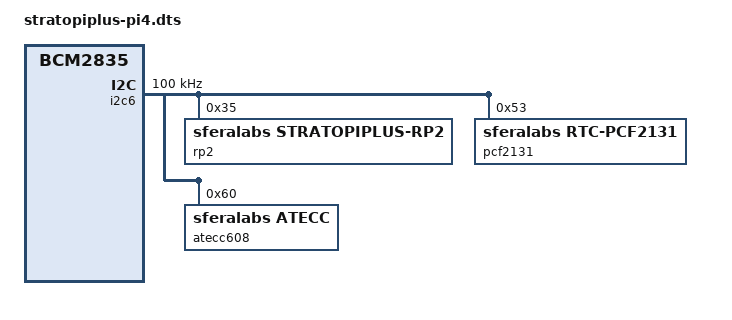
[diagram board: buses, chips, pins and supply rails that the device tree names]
/dts-v1/;
/plugin/;

/ {
    compatible = "brcm,bcm2835";

    fragment@0 {
        target-path = "/";
        __overlay__ {
            stratopiplus: stratopiplus {
                compatible = "sferalabs,stratopiplus";
                status = "okay";
            };
        };
    };

    fragment@1 {
        target = <&i2c6_pins>;
        __overlay__ {
            brcm,pins = <22 23>;
        };
    };

    fragment@2 {
        target = <&i2c6>;
        __overlay__ {
            #address-cells = <1>;
            #size-cells = <0>;
            status = "okay";
            clock-frequency = <100000>;

            rp2: rp2@35 {
                compatible = "sferalabs,stratopiplus-rp2";
                reg = <0x35>;
                status = "okay";
            };

            pcf2131: pcf2131@53 {
                compatible = "sferalabs,rtc-pcf2131";
                reg = <0x53>;
                status = "okay";
            };

            atecc608: atecc608@60 {
                compatible = "sferalabs,atecc";
                reg = <0x60>;
                status = "okay";
            };
        };
    };
};
